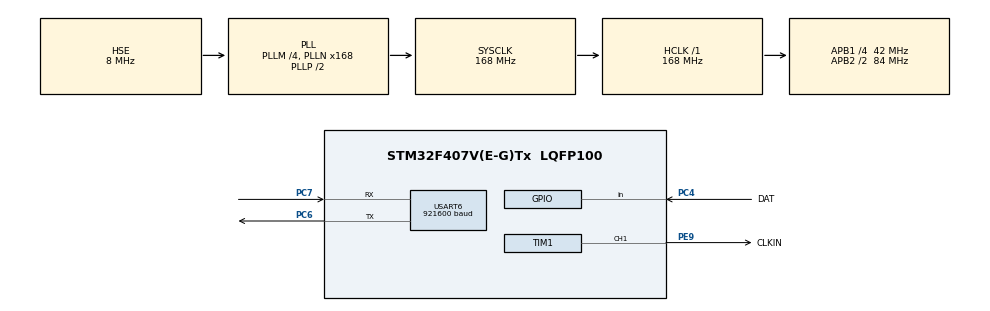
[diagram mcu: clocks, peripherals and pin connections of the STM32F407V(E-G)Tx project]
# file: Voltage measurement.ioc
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Mcu.Family=STM32F4
Mcu.Name=STM32F407V(E-G)Tx
Mcu.Package=LQFP100
NVIC.PriorityGroup=NVIC_PRIORITYGROUP_4
NVIC.TIM1_CC_IRQn=true\:0\:0\:false\:false\:true\:true
NVIC.USART6_IRQn=true\:0\:0\:false\:false\:true\:true
PC4.GPIO_Label=DAT
PC4.GPIO_PuPd=GPIO_PULLUP
PC4.Signal=GPIO_Input
PC6.Mode=Asynchronous
PC6.Signal=USART6_TX
PC7.Mode=Asynchronous
PC7.Signal=USART6_RX
PE9.GPIO_Label=CLKIN
PE9.GPIO_PuPd=GPIO_PULLUP
PE9.GPIO_Speed=GPIO_SPEED_FREQ_VERY_HIGH
PE9.Signal=S_TIM1_CH1
PH0-OSC_IN.Mode=HSE-External-Oscillator
PH0-OSC_IN.Signal=RCC_OSC_IN
PH1-OSC_OUT.Mode=HSE-External-Oscillator
PH1-OSC_OUT.Signal=RCC_OSC_OUT
ProjectManager.HeapSize=0x200
ProjectManager.StackSize=0x400
ProjectManager.TargetToolchain=SW4STM32
RCC.48MHZClocksFreq_Value=84000000
RCC.AHBFreq_Value=168000000
RCC.APB1CLKDivider=RCC_HCLK_DIV4
RCC.APB1Freq_Value=42000000
RCC.APB1TimFreq_Value=84000000
RCC.APB2CLKDivider=RCC_HCLK_DIV2
RCC.APB2Freq_Value=84000000
RCC.APB2TimFreq_Value=168000000
RCC.CortexFreq_Value=168000000
RCC.HCLKFreq_Value=168000000
RCC.HSE_VALUE=8000000
RCC.HSI_VALUE=16000000
RCC.LSE_VALUE=32768
RCC.PLLM=4
RCC.PLLN=168
RCC.PLLSourceVirtual=RCC_PLLSOURCE_HSE
RCC.SYSCLKFreq_VALUE=168000000
RCC.SYSCLKSource=RCC_SYSCLKSOURCE_PLLCLK
RCC.VCOOutputFreq_Value=336000000
SH.S_TIM1_CH1.0=TIM1_CH1,PWM Generation1 CH1
TIM1.Channel-PWM\ Generation1\ CH1=TIM_CHANNEL_1
TIM1.OCFastMode_PWM-PWM\ Generation1\ CH1=TIM_OCFAST_ENABLE
TIM1.OCMode_PWM-PWM\ Generation1\ CH1=TIM_OCMODE_PWM2
TIM1.Period=9
TIM1.Prescaler=31
TIM1.Pulse-PWM\ Generation1\ CH1=1
USART6.BaudRate=921600
USART6.VirtualMode=VM_ASYNC
VP_TIM1_VS_ClockSourceINT.Mode=Internal
board=custom

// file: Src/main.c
/**
  ******************************************************************************
  * @file           : main.c
  * @brief          : Main program body
  ******************************************************************************
  ** This notice applies to any and all portions of this file
  * that are not between comment pairs USER CODE BEGIN and
  * USER CODE END. Other portions of this file, whether
  * inserted by the user or by software development tools
  * are owned by their respective copyright owners.
  *
  * COPYRIGHT(c) 2018 STMicroelectronics
  *
  * Redistribution and use in source and binary forms, with or without modification,
  * are permitted provided that the following conditions are met:
  *   1. Redistributions of source code must retain the above copyright notice,
  *      this list of conditions and the following disclaimer.
  *   2. Redistributions in binary form must reproduce the above copyright notice,
  *      this list of conditions and the following disclaimer in the documentation
  *      and/or other materials provided with the distribution.
  *   3. Neither the name of STMicroelectronics nor the names of its contributors
  *      may be used to endorse or promote products derived from this software
  *      without specific prior written permission.
  *
  * THIS SOFTWARE IS PROVIDED BY THE COPYRIGHT HOLDERS AND CONTRIBUTORS "AS IS"
  * AND ANY EXPRESS OR IMPLIED WARRANTIES, INCLUDING, BUT NOT LIMITED TO, THE
  * IMPLIED WARRANTIES OF MERCHANTABILITY AND FITNESS FOR A PARTICULAR PURPOSE ARE
  * DISCLAIMED. IN NO EVENT SHALL THE COPYRIGHT HOLDER OR CONTRIBUTORS BE LIABLE
  * FOR ANY DIRECT, INDIRECT, INCIDENTAL, SPECIAL, EXEMPLARY, OR CONSEQUENTIAL
  * DAMAGES (INCLUDING, BUT NOT LIMITED TO, PROCUREMENT OF SUBSTITUTE GOODS OR
  * SERVICES; LOSS OF USE, DATA, OR PROFITS; OR BUSINESS INTERRUPTION) HOWEVER
  * CAUSED AND ON ANY THEORY OF LIABILITY, WHETHER IN CONTRACT, STRICT LIABILITY,
  * OR TORT (INCLUDING NEGLIGENCE OR OTHERWISE) ARISING IN ANY WAY OUT OF THE USE
  * OF THIS SOFTWARE, EVEN IF ADVISED OF THE POSSIBILITY OF SUCH DAMAGE.
  *
  ******************************************************************************
  */
#include "main.h"
#include "stm32f4xx_hal.h"

/* USER CODE BEGIN Includes */
#include <math.h>
#include <stdlib.h>

/* USER CODE END Includes */

TIM_HandleTypeDef htim1;

UART_HandleTypeDef huart6;

/* USER CODE BEGIN PV */
/* Private variables ---------------------------------------------------------*/

/* USER CODE END PV */

void SystemClock_Config(void);
static void MX_GPIO_Init(void);
static void MX_USART6_UART_Init(void);
static void MX_TIM1_Init(void);
void HAL_TIM_MspPostInit(TIM_HandleTypeDef *htim);

/* USER CODE BEGIN PFP */
/* Private function prototypes -----------------------------------------------*/

/* USER CODE END PFP */

int main(void)
{
  /* USER CODE BEGIN 1 */

 // float wyswietlanie=0;

  /* USER CODE END 1 */

  /* MCU Configuration----------------------------------------------------------*/

  /* Reset of all peripherals, Initializes the Flash interface and the Systick. */
  HAL_Init();

  /* Configure the system clock */
  SystemClock_Config();

  /* Initialize all configured peripherals */
  MX_GPIO_Init();
  MX_USART6_UART_Init();
  MX_TIM1_Init();
  /* USER CODE BEGIN 2 */
  HAL_TIM_PWM_Start_IT(&htim1, TIM_CHANNEL_1);
//  HAL_TIM_Base_Start_IT(&htim10);

  /* USER CODE END 2 */

  /* Infinite loop */
  while (1)
  {

  }

}

void SystemClock_Config(void)
{

  RCC_OscInitTypeDef RCC_OscInitStruct;
  RCC_ClkInitTypeDef RCC_ClkInitStruct;

    /**Configure the main internal regulator output voltage
    */
  __HAL_RCC_PWR_CLK_ENABLE();

  __HAL_PWR_VOLTAGESCALING_CONFIG(PWR_REGULATOR_VOLTAGE_SCALE1);

    /**Initializes the CPU, AHB and APB busses clocks
    */
  RCC_OscInitStruct.OscillatorType = RCC_OSCILLATORTYPE_HSE;
  RCC_OscInitStruct.HSEState = RCC_HSE_ON;
  RCC_OscInitStruct.PLL.PLLState = RCC_PLL_ON;
  RCC_OscInitStruct.PLL.PLLSource = RCC_PLLSOURCE_HSE;
  RCC_OscInitStruct.PLL.PLLM = 4;
  RCC_OscInitStruct.PLL.PLLN = 168;
  RCC_OscInitStruct.PLL.PLLP = RCC_PLLP_DIV2;
  RCC_OscInitStruct.PLL.PLLQ = 4;
  if (HAL_RCC_OscConfig(&RCC_OscInitStruct) != HAL_OK)
  {
    _Error_Handler(__FILE__, __LINE__);
  }

    /**Initializes the CPU, AHB and APB busses clocks
    */
  RCC_ClkInitStruct.ClockType = RCC_CLOCKTYPE_HCLK|RCC_CLOCKTYPE_SYSCLK
                              |RCC_CLOCKTYPE_PCLK1|RCC_CLOCKTYPE_PCLK2;
  RCC_ClkInitStruct.SYSCLKSource = RCC_SYSCLKSOURCE_PLLCLK;
  RCC_ClkInitStruct.AHBCLKDivider = RCC_SYSCLK_DIV1;
  RCC_ClkInitStruct.APB1CLKDivider = RCC_HCLK_DIV4;
  RCC_ClkInitStruct.APB2CLKDivider = RCC_HCLK_DIV2;

  if (HAL_RCC_ClockConfig(&RCC_ClkInitStruct, FLASH_LATENCY_5) != HAL_OK)
  {
    _Error_Handler(__FILE__, __LINE__);
  }

    /**Configure the Systick interrupt time
    */
  HAL_SYSTICK_Config(HAL_RCC_GetHCLKFreq()/1000);

    /**Configure the Systick
    */
  HAL_SYSTICK_CLKSourceConfig(SYSTICK_CLKSOURCE_HCLK);

  /* SysTick_IRQn interrupt configuration */
  HAL_NVIC_SetPriority(SysTick_IRQn, 0, 0);
}

/* TIM1 init function */
static void MX_TIM1_Init(void)
{

  TIM_ClockConfigTypeDef sClockSourceConfig;
  TIM_MasterConfigTypeDef sMasterConfig;
  TIM_OC_InitTypeDef sConfigOC;
  TIM_BreakDeadTimeConfigTypeDef sBreakDeadTimeConfig;

  htim1.Instance = TIM1;
  htim1.Init.Prescaler = 31;
  htim1.Init.CounterMode = TIM_COUNTERMODE_UP;
  htim1.Init.Period = 9;
  htim1.Init.ClockDivision = TIM_CLOCKDIVISION_DIV1;
  htim1.Init.RepetitionCounter = 0;
  if (HAL_TIM_Base_Init(&htim1) != HAL_OK)
  {
    _Error_Handler(__FILE__, __LINE__);
  }

  sClockSourceConfig.ClockSource = TIM_CLOCKSOURCE_INTERNAL;
  if (HAL_TIM_ConfigClockSource(&htim1, &sClockSourceConfig) != HAL_OK)
  {
    _Error_Handler(__FILE__, __LINE__);
  }

  if (HAL_TIM_PWM_Init(&htim1) != HAL_OK)
  {
    _Error_Handler(__FILE__, __LINE__);
  }

  sMasterConfig.MasterOutputTrigger = TIM_TRGO_RESET;
  sMasterConfig.MasterSlaveMode = TIM_MASTERSLAVEMODE_DISABLE;
  if (HAL_TIMEx_MasterConfigSynchronization(&htim1, &sMasterConfig) != HAL_OK)
  {
    _Error_Handler(__FILE__, __LINE__);
  }

  sConfigOC.OCMode = TIM_OCMODE_PWM2;
  sConfigOC.Pulse = 1;
  sConfigOC.OCPolarity = TIM_OCPOLARITY_HIGH;
  sConfigOC.OCNPolarity = TIM_OCNPOLARITY_HIGH;
  sConfigOC.OCFastMode = TIM_OCFAST_ENABLE;
  sConfigOC.OCIdleState = TIM_OCIDLESTATE_RESET;
  sConfigOC.OCNIdleState = TIM_OCNIDLESTATE_RESET;
  if (HAL_TIM_PWM_ConfigChannel(&htim1, &sConfigOC, TIM_CHANNEL_1) != HAL_OK)
  {
    _Error_Handler(__FILE__, __LINE__);
  }

  sBreakDeadTimeConfig.OffStateRunMode = TIM_OSSR_DISABLE;
  sBreakDeadTimeConfig.OffStateIDLEMode = TIM_OSSI_DISABLE;
  sBreakDeadTimeConfig.LockLevel = TIM_LOCKLEVEL_OFF;
  sBreakDeadTimeConfig.DeadTime = 0;
  sBreakDeadTimeConfig.BreakState = TIM_BREAK_DISABLE;
  sBreakDeadTimeConfig.BreakPolarity = TIM_BREAKPOLARITY_HIGH;
  sBreakDeadTimeConfig.AutomaticOutput = TIM_AUTOMATICOUTPUT_DISABLE;
  if (HAL_TIMEx_ConfigBreakDeadTime(&htim1, &sBreakDeadTimeConfig) != HAL_OK)
  {
    _Error_Handler(__FILE__, __LINE__);
  }

  HAL_TIM_MspPostInit(&htim1);

}

/* USART6 init function */
static void MX_USART6_UART_Init(void)
{

  huart6.Instance = USART6;
  huart6.Init.BaudRate = 921600;
  huart6.Init.WordLength = UART_WORDLENGTH_8B;
  huart6.Init.StopBits = UART_STOPBITS_1;
  huart6.Init.Parity = UART_PARITY_NONE;
  huart6.Init.Mode = UART_MODE_TX_RX;
  huart6.Init.HwFlowCtl = UART_HWCONTROL_NONE;
  huart6.Init.OverSampling = UART_OVERSAMPLING_16;
  if (HAL_UART_Init(&huart6) != HAL_OK)
  {
    _Error_Handler(__FILE__, __LINE__);
  }

}

/** Configure pins as
        * Analog
        * Input
        * Output
        * EVENT_OUT
        * EXTI
*/
static void MX_GPIO_Init(void)
{

  GPIO_InitTypeDef GPIO_InitStruct;

  /* GPIO Ports Clock Enable */
  __HAL_RCC_GPIOH_CLK_ENABLE();
  __HAL_RCC_GPIOC_CLK_ENABLE();
  __HAL_RCC_GPIOE_CLK_ENABLE();

  /*Configure GPIO pin : DAT_Pin */
  GPIO_InitStruct.Pin = DAT_Pin;
  GPIO_InitStruct.Mode = GPIO_MODE_INPUT;
  GPIO_InitStruct.Pull = GPIO_PULLUP;
  HAL_GPIO_Init(DAT_GPIO_Port, &GPIO_InitStruct);

}

/* USER CODE BEGIN 4 */

void HAL_TIM_PWM_PulseFinishedCallback(TIM_HandleTypeDef *htim)
{
	int Data_in = 0;
	int Data_Out = 0;
	static int Integrator_1 = 0;
	static int Integrator_2 = 0;
	static int Integrator_3 = 0;
	static int dec_clk = 0;
	static int word_count = 0;
	static int diff_1 = 0;
	static int diff_2 = 0;
	static int diff_3 = 0;
	static int diff_1_d = 0;
	static int diff_2_d = 0;
	static int Integrator_3_d2 = 0;
	uint16_t size = 0;
	uint8_t data[50] = {0};
	uint16_t Data_UART = 0;

	if(htim->Instance == TIM1)
	{
		Data_in = HAL_GPIO_ReadPin(DAT_GPIO_Port, DAT_Pin);		// Przypisanie wartosci bitu wejsciowego

			/////////////////////////// Filtr sinc3 //////////////////////////////////
			////////////////////////////////////////// Sekcja ró¿nicowania	(Differentiation stage)
			if(dec_clk == 1)
			{
				diff_3 = diff_2 - diff_2_d;
				diff_2_d = diff_2;
				diff_2 = diff_1 - diff_1_d;
				diff_1_d = diff_1;
				diff_1 = Integrator_3 - Integrator_3_d2;
				Integrator_3_d2 = Integrator_3;
				Data_Out = (diff_3 >> 8);
			////////////////////////////////////////// Wystawienie 16 bitowego slowa wyjsciowego

				if(Data_Out == 65536)
					Data_Out = 65535;
				Data_UART = Data_Out;
				size = sprintf(data, "%d\n\r", Data_UART);
				HAL_UART_Transmit_IT(&huart6, data, size);	//Wys³anie danych do komputera
				dec_clk = 0;
				TIM1 -> PSC = 31;	// Zmiana czêstotliwoœci sygna³u zegarowego
			}

			if(word_count == 255)	// Podzia³ czêstotliwoœci
				word_count = 0;
			else
				word_count++;
			if(word_count == 128)
			{
				dec_clk = 1;		 // Wykonanie sekcji ró¿nicowania i wys³ani danych
				TIM1 -> PSC = 699; // Zmiana czêstotliwoœci sygna³u zegarowego
			}

			/////////////////////////////////////////// Rozpoczecie akumulacji (Integrator stage)

			Integrator_3 = Integrator_3 + Integrator_2;	//Blok trzeci sekcji sumowania
			Integrator_2 = Integrator_2 + Integrator_1; //Blok drugi sekcji sumowania
			Integrator_1 = Integrator_1 + Data_in;      //Blok pierwszy sekcji sumowania
	}

}

/* USER CODE END 4 */

void _Error_Handler(char *file, int line)
{
  while(1)
  {
  }
}

/************************ (C) COPYRIGHT STMicroelectronics *****END OF FILE****/
